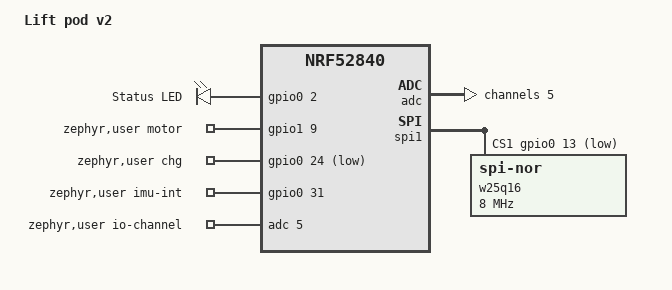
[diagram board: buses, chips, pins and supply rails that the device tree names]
/*
 * Lift pod v2 (hardware/pod-v2/SPEC.md): Ebyte E73 nRF52840 module, no USB, no button,
 * no 32 kHz crystal. One SPI bus: LSM6DSV16X IMU (CS P0.30, INT1 P0.31) and W25Q16 2 MB flash
 * (CS P0.13). Green status LED P0.02 (high = on), coin motor P1.09 (high = on, N-FET),
 * charger STAT P0.24 (low = charging), battery on AIN5 through a 1M/1M divider.
 */
/dts-v1/;
#include <nordic/nrf52840_qiaa.dtsi>
#include <nordic/nrf52840_partition.dtsi>
#include "liftpod_v2-pinctrl.dtsi"

/ {
	model = "Lift pod v2";
	compatible = "silverajat,liftpod-v2";

	leds {
		compatible = "gpio-leds";
		led0: led_0 {
			gpios = <&gpio0 2 GPIO_ACTIVE_HIGH>;
			label = "Status LED";
		};
	};

	aliases {
		led0 = &led0;
		rec-flash = &w25q16;
		watchdog0 = &wdt0;
	};

	zephyr,user {
		io-channels = <&adc 5>;
		motor-gpios = <&gpio1 9 GPIO_ACTIVE_HIGH>;
		chg-gpios = <&gpio0 24 (GPIO_ACTIVE_LOW | GPIO_PULL_UP)>;
		imu-int-gpios = <&gpio0 31 GPIO_ACTIVE_HIGH>;
	};
};

&gpiote {
	status = "okay";
};

&gpio0 {
	status = "okay";
};

&gpio1 {
	status = "okay";
};

&adc {
	status = "okay";
	#address-cells = <1>;
	#size-cells = <0>;

	/* VBAT / 2 on P0.29; 1M/1M with 100 nF, so a long acquisition time */
	channel@5 {
		reg = <5>;
		zephyr,gain = "ADC_GAIN_1_6";
		zephyr,reference = "ADC_REF_INTERNAL";
		zephyr,acquisition-time = <ADC_ACQ_TIME(ADC_ACQ_TIME_MICROSECONDS, 40)>;
		zephyr,input-positive = <NRF_SAADC_AIN5>;
		zephyr,resolution = <12>;
		zephyr,oversampling = <4>;
	};
};

&spi1 {
	compatible = "nordic,nrf-spim";
	status = "okay";
	pinctrl-0 = <&spi1_default>;
	pinctrl-1 = <&spi1_sleep>;
	pinctrl-names = "default", "sleep";
	cs-gpios = <&gpio0 30 GPIO_ACTIVE_LOW>, <&gpio0 13 GPIO_ACTIVE_LOW>;

	/* Driven by the firmware's own code (src/imu.c, ST's register library), not Zephyr's
	 * sensor driver: it needs the low-power wake-up mode. */
	imu: imu@0 {
		compatible = "st,lsm6dsv16x";
		status = "disabled";
		reg = <0>;
		spi-max-frequency = <8000000>;
	};

	w25q16: w25q16@1 {
		compatible = "jedec,spi-nor";
		reg = <1>;
		spi-max-frequency = <8000000>;
		jedec-id = [ef 40 15];
		size = <DT_SIZE_M(16)>;   /* bits: 2 MB */
		has-dpd;
		t-enter-dpd = <3000>;
		t-exit-dpd = <30000>;
	};
};

&uart0 {
	status = "disabled";
};

&i2c0 {
	status = "disabled";
};

&usbd {
	status = "disabled";
};

/* The last 1 KB of RAM is kept out of both images (MCUboot and the app): it holds the crash/hang record,
 * which has to survive the restart (src/main.c, RET_ADDR). */
&sram0 {
	reg = <0x20000000 DT_SIZE_K(255)>;
};

